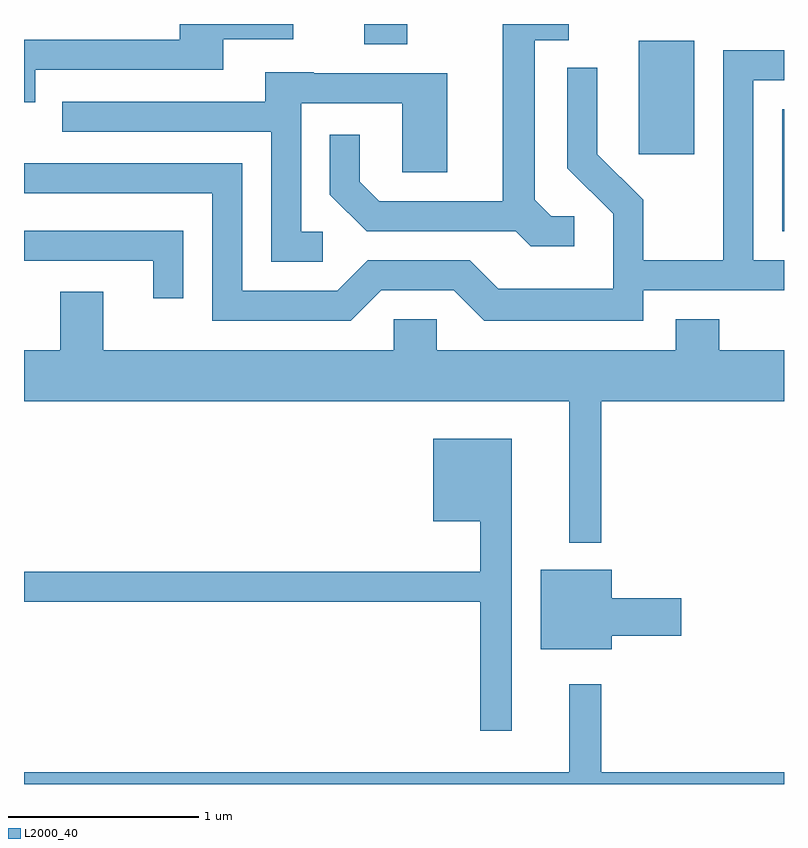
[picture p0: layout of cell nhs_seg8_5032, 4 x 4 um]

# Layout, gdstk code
import gdstk
lib = gdstk.Library(unit=1e-6, precision=1e-09)
def R(c, l, rs):  # rectangles x0, y0, x1, y1
    for r in rs: c.add(gdstk.rectangle(r[:2], r[2:], *l))
def P(c, l, *ps):  # polygons
    for p in ps: c.add(gdstk.Polygon(p, *l))
L2000_40 = (2000, 40)

nhs_seg8_5032 = lib.new_cell('nhs_seg8_5032')
R(nhs_seg8_5032, L2000_40, [(339.601,1897.251,339.611,1897.894), (338.846,1897.656,339.139,1898.254), (337.401,1898.236,337.629,1898.342)])
P(nhs_seg8_5032, L2000_40, [(338.508,1897.329),(338.387,1897.329),(338.299,1897.417),(338.299,1898.256),(338.478,1898.256),(338.478,1898.342),(338.131,1898.342),(338.131,1897.409),(337.482,1897.409),(337.379,1897.512),(337.379,1897.758),(337.221,1897.758),(337.221,1897.444),(337.414,1897.251),(338.199,1897.251),(338.279,1897.171),(338.508,1897.171)],
  [(335.669,1898.101),(336.659,1898.101),(336.659,1898.261),(337.028,1898.261),(337.028,1898.342),(336.431,1898.342),(336.431,1898.259),(335.611,1898.259),(335.611,1897.931),(335.669,1897.931)],
  [(337.492,1896.941),(337.874,1896.941),(338.034,1896.781),(338.869,1896.781),(338.869,1896.941),(339.611,1896.941),(339.611,1897.099),(339.449,1897.099),(339.449,1898.046),(339.611,1898.046),(339.611,1898.204),(339.291,1898.204),(339.291,1897.099),(338.869,1897.099),(338.869,1897.417),(338.629,1897.657),(338.629,1898.113),(338.471,1898.113),(338.471,1897.584),(338.711,1897.344),(338.711,1896.949),(338.107,1896.949),(337.957,1897.099),(337.419,1897.099),(337.259,1896.939),(336.759,1896.939),(336.759,1897.609),(335.611,1897.609),(335.611,1897.451),(336.601,1897.451),(336.601,1896.781),(337.332,1896.781)],
  [(337.183,1897.249),(337.069,1897.249),(337.069,1897.926),(337.601,1897.926),(337.601,1897.561),(337.839,1897.561),(337.839,1898.084),(337.135,1898.084),(337.135,1898.089),(336.881,1898.089),(336.881,1897.934),(335.813,1897.934),(335.813,1897.776),(336.911,1897.776),(336.911,1897.091),(337.183,1897.091)],
  [(336.449,1897.254),(335.611,1897.254),(335.611,1897.096),(336.291,1897.096),(336.291,1896.898),(336.449,1896.898)],
  [(338.649,1896.356),(339.611,1896.356),(339.611,1896.624),(339.269,1896.624),(339.269,1896.789),(339.041,1896.789),(339.041,1896.624),(337.784,1896.624),(337.784,1896.789),(337.556,1896.789),(337.556,1896.624),(336.029,1896.624),(336.029,1896.934),(335.801,1896.934),(335.801,1896.624),(335.611,1896.624),(335.611,1896.356),(338.481,1896.356),(338.481,1895.613),(338.649,1895.613)],
  [(338.179,1896.159),(337.766,1896.159),(337.766,1895.726),(338.011,1895.726),(338.011,1895.459),(335.611,1895.459),(335.611,1895.301),(338.011,1895.301),(338.011,1894.623),(338.179,1894.623)],
  [(338.704,1895.121),(339.069,1895.121),(339.069,1895.319),(338.704,1895.319),(338.704,1895.469),(338.331,1895.469),(338.331,1895.051),(338.704,1895.051)],
  [(339.611,1894.404),(338.649,1894.404),(338.649,1894.868),(338.481,1894.868),(338.481,1894.404),(335.611,1894.404),(335.611,1894.342),(339.611,1894.342)])

lib.write_gds('nhs_seg8_5032.gds')
